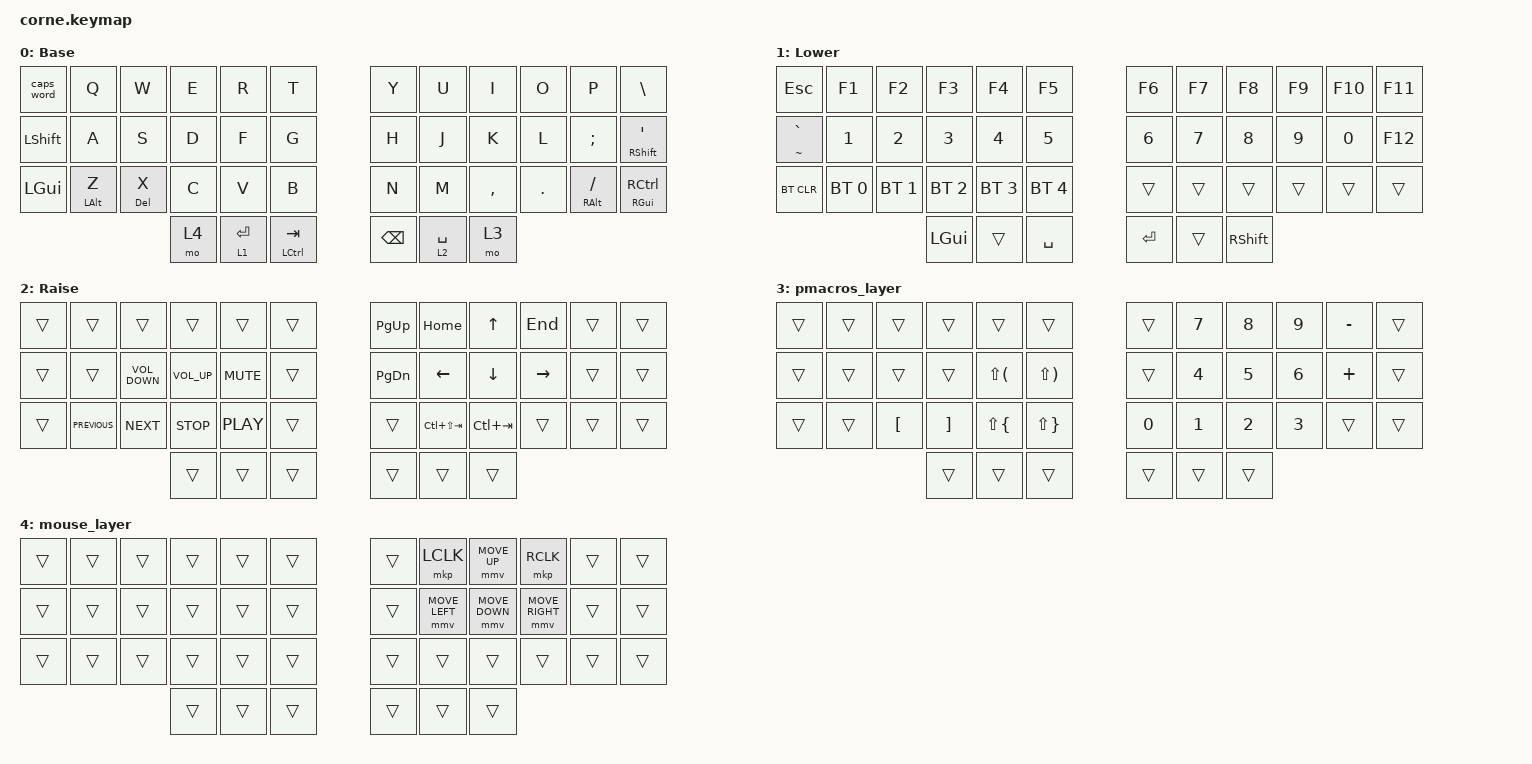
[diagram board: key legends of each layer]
/*
 * Copyright (c) 2020 The ZMK Contributors
 *
 * SPDX-License-Identifier: MIT
 */

#include <behaviors.dtsi>
#include <dt-bindings/zmk/bt.h>
#include <dt-bindings/zmk/keys.h>
#include <dt-bindings/zmk/pointing.h>

/ {
    keymap {
        compatible = "zmk,keymap";

        default_layer {
            // -----------------------------------------------------------------------------------------
            // |  TAB |  Q  |  W  |  E  |  R  |  T  |   |  Y  |  U   |  I  |  O  |  P  | BKSP |
            // | CTRL |  A  |  S  |  D  |  F  |  G  |   |  H  |  J   |  K  |  L  |  ;  |  '   |
            // | SHFT |  Z  |  X  |  C  |  V  |  B  |   |  N  |  M   |  ,  |  .  |  /  | ESC  |
            //                    | GUI | LWR | SPC |   | ENT | RSE  | ALT |

            display-name = "Base";
            bindings = <
&caps_word      &kp Q           &kp W      &kp E  &kp R        &kp T            &kp Y          &kp U        &kp I      &kp O    &kp P               &kp BACKSLASH
&kp LEFT_SHIFT  &kp A           &kp S      &kp D  &kp F        &kp G            &kp H          &kp J        &kp K      &kp L    &kp SEMI            &mt RIGHT_SHIFT SQT
&kp LEFT_GUI    &mt LEFT_ALT Z  &mt DEL X  &kp C  &kp V        &kp B            &kp N          &kp M        &kp COMMA  &kp DOT  &mt RIGHT_ALT FSLH  &mt RIGHT_GUI RCTRL
                                           &mo 4  &lt 1 ENTER  &mt LCTRL TAB    &kp BACKSPACE  &lt 2 SPACE  &mo 3
            >;
        };

        lower_layer {
            // -----------------------------------------------------------------------------------------
            // |  TAB |  1  |  2  |  3  |  4  |  5  |   |  6  |  7  |  8  |  9  |  0  | BKSP |
            // | BTCLR| BT1 | BT2 | BT3 | BT4 | BT5 |   | LFT | DWN |  UP | RGT |     |      |
            // | SHFT |     |     |     |     |     |   |     |     |     |     |     |      |
            //                    | GUI |     | SPC |   | ENT |     | ALT |

            display-name = "Lower";
            bindings = <
&kp ESC          &kp F1        &kp F2        &kp F3        &kp F4        &kp F5          &kp F6        &kp F7        &kp F8           &kp F9        &kp F10       &kp F11
&mt TILDE GRAVE  &kp NUMBER_1  &kp NUMBER_2  &kp NUMBER_3  &kp NUMBER_4  &kp NUMBER_5    &kp NUMBER_6  &kp NUMBER_7  &kp NUMBER_8     &kp NUMBER_9  &kp NUMBER_0  &kp F12
&bt BT_CLR       &bt BT_SEL 0  &bt BT_SEL 1  &bt BT_SEL 2  &bt BT_SEL 3  &bt BT_SEL 4    &trans        &trans        &trans           &trans        &trans        &trans
                                             &kp LGUI      &trans        &kp SPACE       &kp RET       &trans        &kp RIGHT_SHIFT
            >;
        };

        raise_layer {
            // -----------------------------------------------------------------------------------------
            // |  TAB |  !  |  @  |  #  |  $  |  %  |   |  ^  |  &  |  *  |  (  |  )  | BKSP |
            // | CTRL |     |     |     |     |     |   |  -  |  =  |  [  |  ]  |  \  |  `   |
            // | SHFT |     |     |     |     |     |   |  _  |  +  |  {  |  }  | "|" |  ~   |
            //                    | GUI |     | SPC |   | ENT |     | ALT |

            display-name = "Raise";
            bindings = <
&trans  &trans          &trans             &trans           &trans      &trans    &kp PG_UP  &kp HOME         &kp UP_ARROW    &kp END          &trans  &trans
&trans  &trans          &kp K_VOLUME_DOWN  &kp K_VOLUME_UP  &kp K_MUTE  &trans    &kp PG_DN  &kp LEFT_ARROW   &kp DOWN_ARROW  &kp RIGHT_ARROW  &trans  &trans
&trans  &kp C_PREVIOUS  &kp C_NEXT         &kp C_STOP       &kp C_PLAY  &trans    &trans     &kp LC(LS(TAB))  &kp LC(TAB)     &trans           &trans  &trans
                                           &trans           &trans      &trans    &trans     &trans           &trans
            >;
        };

        pmacros_layer {
            bindings = <
&trans  &trans  &trans    &trans    &trans        &trans          &trans  &kp N7  &kp N8  &kp N9  &kp MINUS  &trans
&trans  &trans  &trans    &trans    &kp LS(LPAR)  &kp LS(RPAR)    &trans  &kp N4  &kp N5  &kp N6  &kp PLUS   &trans
&trans  &trans  &kp LBKT  &kp RBKT  &kp LS(LBRC)  &kp LS(RBRC)    &kp N0  &kp N1  &kp N2  &kp N3  &trans     &trans
                          &trans    &trans        &trans          &trans  &trans  &trans
            >;
        };

        mouse_layer {
            bindings = <
&trans  &trans  &trans  &trans  &trans  &trans    &trans  &mkp LCLK       &mmv MOVE_UP    &mkp RCLK        &trans  &trans
&trans  &trans  &trans  &trans  &trans  &trans    &trans  &mmv MOVE_LEFT  &mmv MOVE_DOWN  &mmv MOVE_RIGHT  &trans  &trans
&trans  &trans  &trans  &trans  &trans  &trans    &trans  &trans          &trans          &trans           &trans  &trans
                        &trans  &trans  &trans    &trans  &trans          &trans
            >;
        };
    };
};
